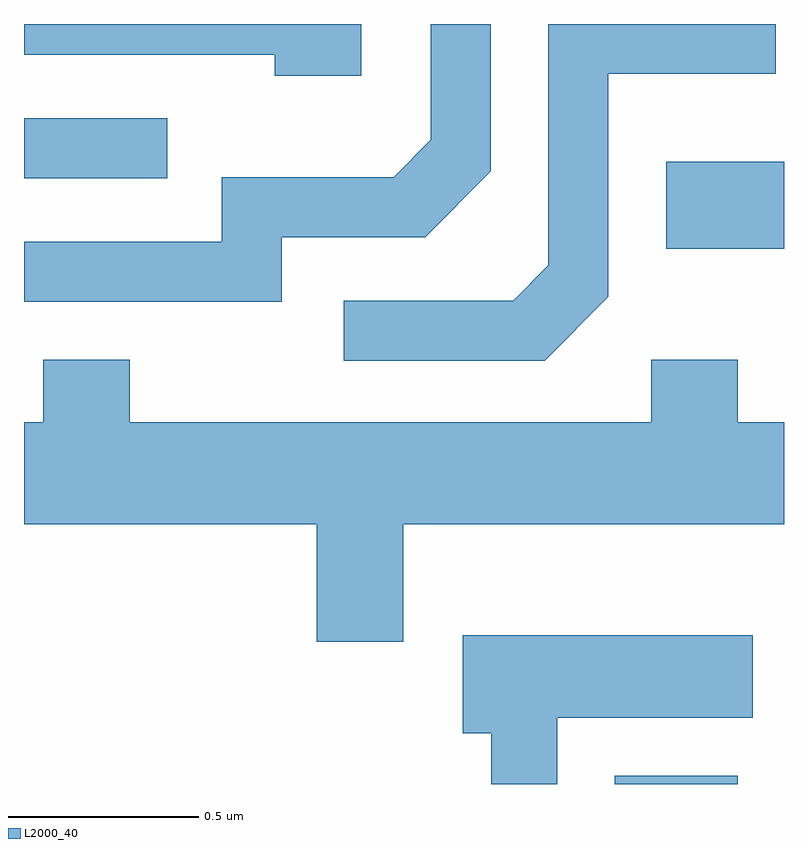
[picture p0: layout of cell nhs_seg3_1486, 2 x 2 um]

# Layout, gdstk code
import gdstk
lib = gdstk.Library(unit=1e-6, precision=1e-09)
def R(c, l, rs):  # rectangles x0, y0, x1, y1
    for r in rs: c.add(gdstk.rectangle(r[:2], r[2:], *l))
def P(c, l, *ps):  # polygons
    for p in ps: c.add(gdstk.Polygon(p, *l))
L2000_40 = (2000, 40)

nhs_seg3_1486 = lib.new_cell('nhs_seg3_1486')
R(nhs_seg3_1486, L2000_40, [(197.166,1231.892,197.489,1231.914), (197.301,1233.301,197.611,1233.529), (195.611,1233.486,195.988,1233.644)])
P(nhs_seg3_1486, L2000_40, [(196.289,1233.331),(196.667,1233.331),(196.839,1233.504),(196.839,1233.892),(196.681,1233.892),(196.681,1233.587),(196.584,1233.489),(196.131,1233.489),(196.131,1233.319),(195.611,1233.319),(195.611,1233.161),(196.289,1233.161)],
  [(196.499,1233.892),(195.611,1233.892),(195.611,1233.811),(196.271,1233.811),(196.271,1233.756),(196.499,1233.756)],
  [(197.149,1233.174),(197.149,1233.761),(197.589,1233.761),(197.589,1233.892),(196.991,1233.892),(196.991,1233.257),(196.899,1233.164),(196.453,1233.164),(196.453,1233.006),(196.982,1233.006)],
  [(196.609,1232.576),(197.611,1232.576),(197.611,1232.844),(197.489,1232.844),(197.489,1233.009),(197.261,1233.009),(197.261,1232.844),(195.889,1232.844),(195.889,1233.009),(195.661,1233.009),(195.661,1232.844),(195.611,1232.844),(195.611,1232.576),(196.381,1232.576),(196.381,1232.266),(196.609,1232.266)],
  [(197.014,1232.066),(197.529,1232.066),(197.529,1232.284),(196.766,1232.284),(196.766,1232.026),(196.841,1232.026),(196.841,1231.892),(197.014,1231.892)])

lib.write_gds('nhs_seg3_1486.gds')
